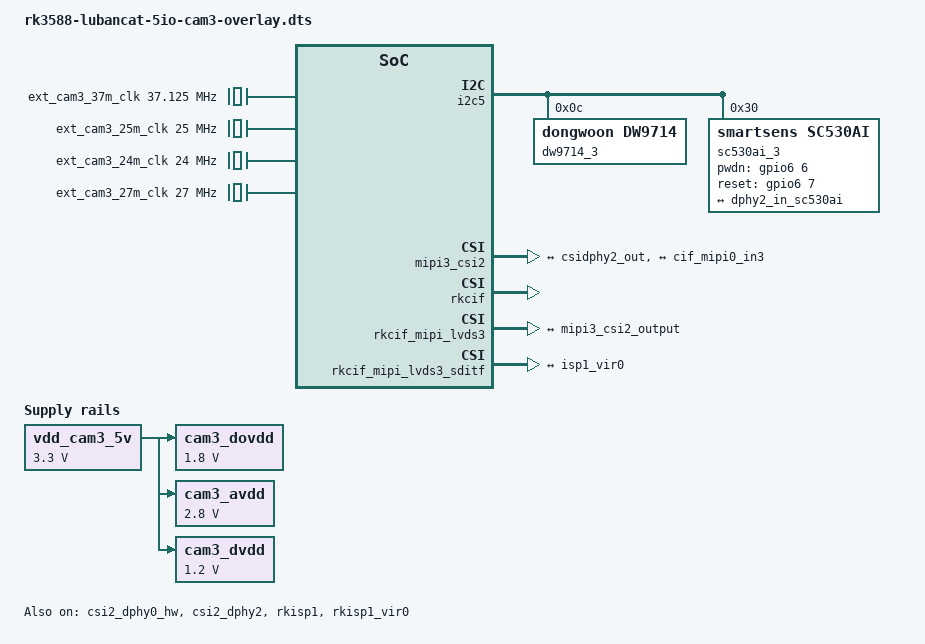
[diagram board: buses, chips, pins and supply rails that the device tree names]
/dts-v1/;
/plugin/;

#include <dt-bindings/usb/pd.h>
#include <dt-bindings/gpio/gpio.h>
#include <dt-bindings/pwm/pwm.h>
#include <dt-bindings/pinctrl/rockchip.h>
#include <dt-bindings/input/rk-input.h>
#include <dt-bindings/display/drm_mipi_dsi.h>
#include <dt-bindings/display/rockchip_vop.h>
#include <dt-bindings/sensor-dev.h>

/ {
	fragment@0 {
		target-path = "/";

		__overlay__ {
			ext_cam3_37m_clk: external-camera-37m-clock {
				compatible = "fixed-clock";
				clock-frequency = <37125000>;
				clock-output-names = "ext_cam3_37m_clk";
				#clock-cells = <0>;
			};

			ext_cam3_25m_clk: external-camera-25m-clock {
				compatible = "fixed-clock";
				clock-frequency = <25000000>;
				clock-output-names = "ext_cam3_25m_clk";
				#clock-cells = <0>;
			};

			ext_cam3_24m_clk: external-camera-24m-clock {
				compatible = "fixed-clock";
				#clock-cells = <0>;
				clock-frequency = <24000000>;
				clock-output-names = "ext_cam3_24m_clk";
			};

			ext_cam3_27m_clk: external-camera-27m-clock {
				compatible = "fixed-clock";
				#clock-cells = <0>;
				clock-frequency = <27000000>;
				clock-output-names = "ext_cam3_27m_clk";
			};

			vdd_cam3_5v: vdd-cam3-5v-regulator {
				compatible = "regulator-fixed";
				regulator-name = "vdd_cam3_5v";
				regulator-always-on;
				regulator-boot-on;
				regulator-min-microvolt = <3300000>;
				regulator-max-microvolt = <3300000>;
			};

			cam3_dovdd: cam3-dovdd {
				compatible = "regulator-fixed";
				regulator-name = "cam3_dovdd";
				regulator-always-on;
				regulator-boot-on;
				regulator-min-microvolt = <1800000>;
				regulator-max-microvolt = <1800000>;
				vin-supply = <&vdd_cam3_5v>;
			};

			cam3_avdd: cam3-avdd {
				compatible = "regulator-fixed";
				regulator-name = "cam3_avdd";
				regulator-always-on;
				regulator-boot-on;
				regulator-min-microvolt = <2800000>;
				regulator-max-microvolt = <2800000>;
				vin-supply = <&vdd_cam3_5v>;
			};

			cam3_dvdd: cam3-dvdd {
				compatible = "regulator-fixed";
				regulator-name = "cam3_dvdd";
				regulator-always-on;
				regulator-boot-on;
				regulator-min-microvolt = <1200000>;
				regulator-max-microvolt = <1200000>;
				vin-supply = <&vdd_cam3_5v>;
			};
		};
	};

	/* Link path: sensor->csi2_dphy2->mipi3_csi2->rkcif_mipi_lvds3--->rkcif_mipi_lvds3_sditf->rkisp1_vir0 */
	fragment@1 {
		target = <&i2c5>;

		__overlay__ {
			status = "okay";
			pinctrl-names = "default";
			pinctrl-0 = <&i2c5m3_xfer>;
			#address-cells = <1>;
			#size-cells = <0>;

			dw9714_3: dw9714-3@c {
				status = "okay";
				compatible = "dongwoon,dw9714";
				reg = <0xc>;
				rockchip,camera-module-index = <3>;
				rockchip,vcm-max-current = <100>;
				rockchip,vcm-start-current = <0>;
				rockchip,vcm-rated-current = <100>;
				rockchip,vcm-step-mode = <0xd>;
				rockchip,vcm-dlc-enable = <0>;
				rockchip,vcm-mclk = <0>;
				rockchip,vcm-t-src = <0>;
				rockchip,camera-module-facing = "back";
			};

			ov5647_3: ov5647-3@36 {
				compatible = "ovti,ov5647";
				status = "disabled";
				reg = <0x36>;
				clocks = <&ext_cam3_25m_clk>;
				clock-names = "ext_cam_25m_clk";
				pwdn-gpios = <&gpio6 6 GPIO_ACTIVE_LOW>;
				lens-focus = <&dw9714_3>;
				port {
					ov5647_out3: endpoint {
						remote-endpoint = <&dphy2_in_ov5647>;
						data-lanes = <1 2>;
					};
				};
			};

			ov5648_3: ov5648-3@36 {
				compatible = "ovti,ov5648";
				status = "disabled";
				reg = <0x36>;
				clocks = <&ext_cam3_24m_clk>;
				clock-names = "xvclk";
				dovdd-supply= <&cam3_dovdd>; /* 1.8v */
				avdd-supply = <&cam3_avdd>;  /* 2.8v */
				dvdd-supply = <&cam3_dvdd>;  /* 1.2v */
				pwdn-gpios = <&gpio6 6 GPIO_ACTIVE_HIGH>;
				reset-gpios = <&gpio6 7 GPIO_ACTIVE_LOW>;
				rotation = <180>;

				rockchip,camera-module-index = <3>;
				rockchip,camera-module-facing = "back";
				rockchip,camera-module-name = "THDS11073";
				rockchip,camera-module-lens-name = "Largan-40122a1";
				lens-focus = <&dw9714_3>;
				port {
					/* MIPI CSI-2 bus endpoint */
					ov5648_out3: endpoint {
						remote-endpoint = <&dphy2_in_ov5648>;
						clock-lanes = <0>;
						data-lanes = <1 2>;
					};
				};
			};

			ov8858_3: ov8858-3@36 {
				compatible = "ovti,ov8858";
				status = "disabled";
				reg = <0x36>;
				clocks = <&ext_cam3_24m_clk>;
				clock-names = "xvclk";
				dovdd-supply= <&cam3_dovdd>; /* 1.8v */
				avdd-supply = <&cam3_avdd>;  /* 2.8v */
				dvdd-supply = <&cam3_dvdd>;  /* 1.2v */
				pwdn-gpios = <&gpio6 6 GPIO_ACTIVE_HIGH>;
				reset-gpios = <&gpio6 7 GPIO_ACTIVE_HIGH>;
				rotation = <180>;

				rockchip,camera-module-index = <3>;
				rockchip,camera-module-facing = "back";
				rockchip,camera-module-name = "HS5885-BNSM1018-V01";
				rockchip,camera-module-lens-name = "default";
				lens-focus = <&dw9714_3>;
				port {
					/* MIPI CSI-2 bus endpoint */
					ov8858_out3: endpoint {
						remote-endpoint = <&dphy2_in_ov8858>;
						clock-lanes = <0>;
						data-lanes = <1 2>;
					};
				};
			};

			ov13850_3: ov13850-3@10 {
				compatible = "ovti,ov13850";
				status = "disabled";
				reg = <0x10>;
				clocks = <&ext_cam3_24m_clk>;
				clock-names = "xvclk";
				dovdd-supply= <&cam3_dovdd>; /* 1.8v */
				avdd-supply = <&cam3_avdd>;  /* 2.8v */
				dvdd-supply = <&cam3_dvdd>;  /* 1.2v */
				pwdn-gpios = <&gpio6 6 GPIO_ACTIVE_HIGH>;
				reset-gpios = <&gpio6 7 GPIO_ACTIVE_HIGH>;
				rotation = <180>;
				rockchip,camera-module-index = <3>;
				rockchip,camera-module-facing = "back";
				rockchip,camera-module-name = "ZC-OV13850R2A-V1";
				rockchip,camera-module-lens-name = "Largan-50064B31";
				lens-focus = <&dw9714_3>;
				port {
					/* MIPI CSI-2 bus endpoint */
					ov13850_out3: endpoint {
						remote-endpoint = <&dphy2_in_ov13850>;
						clock-lanes = <0>;
						data-lanes = <1 2>;
					};
				};
			};

			imx415_3: imx415-3@1a {
				compatible = "sony,imx415";
				status = "disabled";
				reg = <0x1a>;
				clocks = <&ext_cam3_37m_clk>;
				clock-names = "xvclk";
				avdd-supply = <&cam3_avdd>;
				dovdd-supply = <&cam3_dovdd>;
				dvdd-supply = <&cam3_dvdd>;
				reset-gpios = <&gpio6 7 GPIO_ACTIVE_LOW>;

				rockchip,camera-module-index = <3>;
				rockchip,camera-module-facing = "back";
				rockchip,camera-module-name = "CMK-OT2022-PX1";
				rockchip,camera-module-lens-name = "IR0147-50IRC-8M-F20";
				port {
					imx415_out3: endpoint {
						remote-endpoint = <&dphy2_in_imx415>;
						clock-lanes = <0>;
						data-lanes = <1 2>;
					};
				};
			};

			sc530ai_3: sc530ai-3@30 {
				compatible = "smartsens,sc530ai";
				status = "okay";
				reg = <0x30>;
				clocks = <&ext_cam3_24m_clk>;
				clock-names = "xvclk";
				pwdn-gpios = <&gpio6 6 GPIO_ACTIVE_HIGH>;
				reset-gpios = <&gpio6 7 GPIO_ACTIVE_HIGH>;
				rockchip,camera-module-index = <3>;
				rockchip,camera-module-facing = "back";
				rockchip,camera-module-name = "CMK-OT2115-PC1";
				rockchip,camera-module-lens-name = "30IRC-F16";
				rotation = <180>;

				port {
					sc530ai_out3: endpoint {
						remote-endpoint = <&dphy2_in_sc530ai>;
						clock-lanes = <0>;
						data-lanes = <1 2>;
					};
				};
			};
		};
	};

	fragment@2 {
		target = <&csi2_dphy0_hw>;

		__overlay__ {
			status = "okay";
		};
	};

	fragment@3 {
		target = <&csi2_dphy2>;

		__overlay__ {
			status = "okay";

			ports {
				#address-cells = <1>;
				#size-cells = <0>;
				port@0 {
					reg = <0>;
					#address-cells = <1>;
					#size-cells = <0>;
					dphy2_in_ov5648: endpoint@1 {
						reg = <1>;
						remote-endpoint = <&ov5648_out3>;
						data-lanes = <1 2>;
					};
					dphy2_in_ov8858: endpoint@2 {
						reg = <2>;
						remote-endpoint = <&ov8858_out3>;
						data-lanes = <1 2>;
					};
					dphy2_in_ov13850: endpoint@3 {
						reg = <3>;
						remote-endpoint = <&ov13850_out3>;
						data-lanes = <1 2>;
					};
					dphy2_in_ov5647: endpoint@4 {
						reg = <4>;
						remote-endpoint = <&ov5647_out3>;
						data-lanes = <1 2>;
					};
					dphy2_in_imx415: endpoint@5 {
						reg = <5>;
						remote-endpoint = <&imx415_out3>;
						data-lanes = <1 2>;
					};
					dphy2_in_sc530ai: endpoint@6 {
						reg = <6>;
						remote-endpoint = <&sc530ai_out3>;
						data-lanes = <1 2>;
					};
				};
				port@1 {
					reg = <1>;
					#address-cells = <1>;
					#size-cells = <0>;
					csidphy2_out: endpoint@0 {
						reg = <0>;
						remote-endpoint = <&mipi3_csi2_input>;
					};
				};
			};
		};
	};

	fragment@4 {
		target = <&mipi3_csi2>;

		__overlay__ {
			status = "okay";

			ports {
				#address-cells = <1>;
				#size-cells = <0>;
				port@0 {
					reg = <0>;
					#address-cells = <1>;
					#size-cells = <0>;
					mipi3_csi2_input: endpoint@1 {
						reg = <1>;
						remote-endpoint = <&csidphy2_out>;
					};
				};
				port@1 {
					reg = <1>;
					#address-cells = <1>;
					#size-cells = <0>;
					mipi3_csi2_output: endpoint@0 {
						reg = <0>;
						remote-endpoint = <&cif_mipi0_in3>;
					};
				};
			};
		};
	};

	fragment@5 {
		target = <&rkcif>;

		__overlay__ {
			status = "okay";
		};
	};

	fragment@6 {
		target = <&rkcif_mipi_lvds3>;

		__overlay__ {
			status = "okay";

			port {
				cif_mipi0_in3: endpoint {
					remote-endpoint = <&mipi3_csi2_output>;
				};
			};
		};
	};

	fragment@7 {
		target = <&rkcif_mipi_lvds3_sditf>;

		__overlay__ {
			status = "okay";

			port {
				mipi_lvds3_sditf: endpoint {
					remote-endpoint = <&isp1_vir0>;
				};
			};
		};
	};

	fragment@8 {
		target = <&rkcif_mmu>;

		__overlay__ {
			status = "okay";
		};
	};

	fragment@9 {
		target = <&rkisp1>;

		__overlay__ {
			status = "okay";
		};
	};

	fragment@10 {
		target = <&isp1_mmu>;

		__overlay__ {
			status = "okay";
		};
	};

	fragment@11 {
		target = <&rkisp1_vir0>;

		__overlay__ {
			status = "okay";

			port {
				#address-cells = <1>;
				#size-cells = <0>;
				isp1_vir0: endpoint@0 {
					reg = <0>;
					remote-endpoint = <&mipi_lvds3_sditf>;
				};
			};
		};
	};
};
